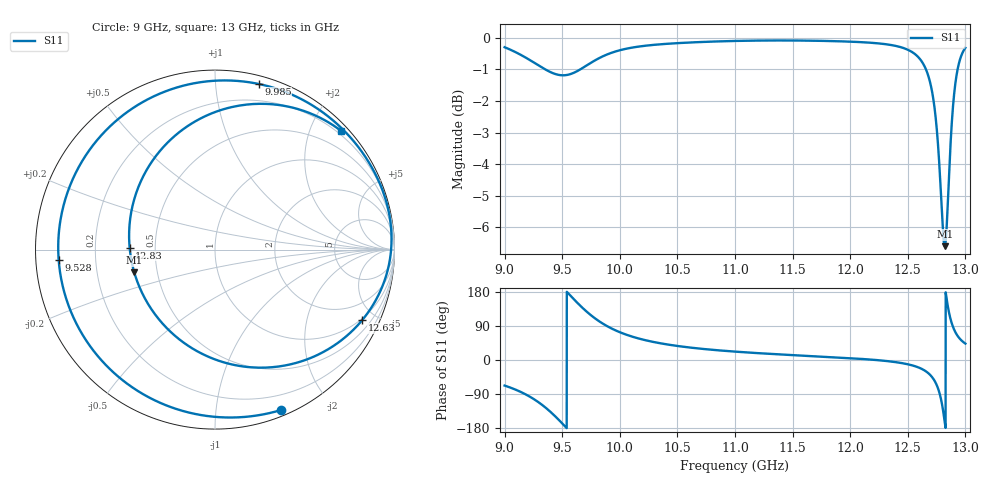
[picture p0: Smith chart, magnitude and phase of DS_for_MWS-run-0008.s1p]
! TOUCHSTONE file generated by CST DESIGN STUDIO
! Date and time: Tue Feb  4 14:17:34 2025
! Project name: C:\Work\MatlabApps\UnitCellOptimizationMatlab\CST\unitcell.cst
! Tree item: Tasks\Sweep1\SPara1\S-Parameters
! Header version: 2024
! Port assignment regex: !\s*Touchstone port\s*([0-9]+)\s*=\s*(CST MWS port|CST DES external port|CST DES block port)\s*(.+)\s* \(\"(.*)\"\)(\s*mode\s*([0-9]+))?.*
! Touchstone port assignment:
! Touchstone port 1 = CST DES external port 1 ("")
# GHz S MA R 50
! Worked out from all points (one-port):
!   4001 points, 9 GHz to 13 GHz, reference 50 ohm
!   lowest |S11| = -6.6 dB at 12.82 GHz (marker M1), VSWR 2.76, Z = 18.4 - j6.01 ohm
!   |S11| at or under -10 dB: nowhere
!   S11 on the Smith chart (normalised r, x): 9 GHz: 0.05, -1.50; 9.528 GHz: 0.07, -0.03; 9.985 GHz: 0.06, +1.30; 12.63 GHz: 0.93, -4.22; 12.83 GHz: 0.36, +0.01; 13 GHz: 0.13, +2.52
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9  0.9667 -67.5
9.17  0.9337 -88.7
9.29  0.9057 -110.5
9.394  0.8835 -135.7
9.5  0.8725 -167.3
9.528  0.8729 -176.2
9.623  0.8845 153.5
9.744  0.9121 119.5
9.849  0.9345 96.6
9.985  0.9545 75.3
10  0.9561 73.4
10.214  0.9716 52.8
10.5  0.9812 37.1
11  0.9891 22.1
11.5  0.9908 12.9
12  0.9866 4.8
12.5  0.9579 -11.3
12.634  0.9097 -25.5
12.707  0.8289 -43.7
12.762  0.6785 -74.6
12.792  0.5466 -108.7
12.821  0.4674 -164.2
12.829  0.4758 178.6
12.845  0.5352 146.2
12.863  0.6345 118.0
12.893  0.7811 87.0
12.943  0.91 59.3
13  0.9648 43.3
